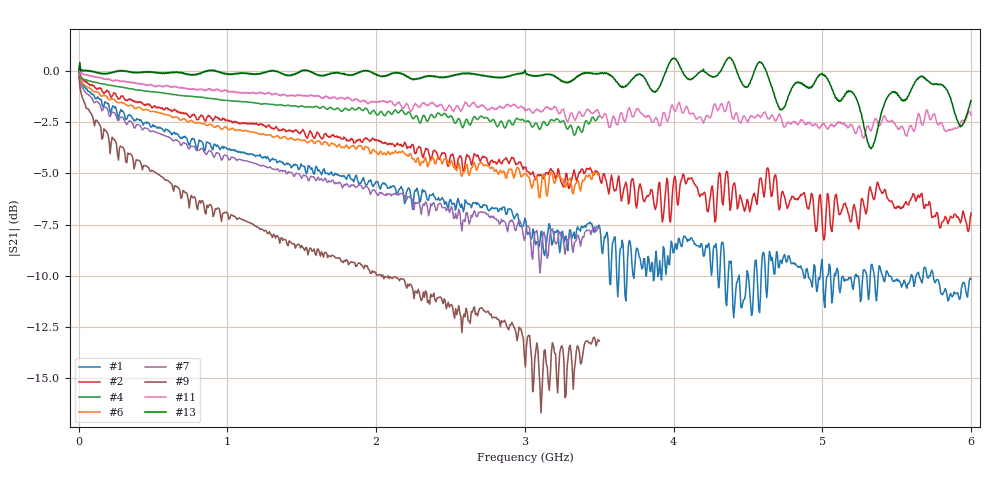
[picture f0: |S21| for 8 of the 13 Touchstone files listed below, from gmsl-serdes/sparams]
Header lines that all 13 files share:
# GHZ S RI R 50.000000000000
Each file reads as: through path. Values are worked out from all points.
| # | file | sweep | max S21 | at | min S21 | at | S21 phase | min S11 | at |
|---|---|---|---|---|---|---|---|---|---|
| 1 | cableA+D+B+E+C_6.45m.s2p | 1 MHz to 6 GHz | 0.05 dB | 1 MHz | -12.0 dB | 4.404 GHz | 47 deg at 3.001 GHz | -45.1 dB | 1.117 GHz |
| 2 | cableA+D+B_4.3m.s2p | 1 MHz to 6 GHz | 0.14 dB | 6.999 MHz | -8.3 dB | 5.01 GHz | -160 deg at 3.001 GHz | -43.5 dB | 468.9 MHz |
| 3 | cableA_2m.s2p | 1 MHz to 3.5 GHz | -0.05 dB | 1 MHz | -2.8 dB | 3.332 GHz | -154 deg at 1.75 GHz | -61.3 dB | 1.128 GHz |
| 4 | cableA_2m_85C.s2p | 1 MHz to 3.5 GHz | -0.01 dB | 1 MHz | -3.1 dB | 3.332 GHz | -150 deg at 1.75 GHz | -53.6 dB | 1.065 GHz |
| 5 | cableA_2m_-20C.s2p | 1 MHz to 3.5 GHz | -0.10 dB | 1 MHz | -2.9 dB | 3.332 GHz | -160 deg at 1.75 GHz | -53.8 dB | 175.9 MHz |
| 6 | cableA_4m_2interconnect.s2p | 1 MHz to 3.5 GHz | -0.16 dB | 1 MHz | -6.2 dB | 3.101 GHz | 65 deg at 1.75 GHz | -62.9 dB | 1.205 GHz |
| 7 | cableA_6m_4interconnect.s2p | 1 MHz to 3.5 GHz | -0.19 dB | 1 MHz | -9.9 dB | 3.101 GHz | -147 deg at 1.75 GHz | -51.1 dB | 1.044 GHz |
| 8 | cableA_8m_6interconnect.s2p | 1 MHz to 3.5 GHz | -0.30 dB | 1 MHz | -13.0 dB | 3.108 GHz | 103 deg at 1.75 GHz | -49.5 dB | 127 MHz |
| 9 | cableA_10m_8interconnect.s2p | 1 MHz to 3.5 GHz | -0.29 dB | 1 MHz | -16.7 dB | 3.108 GHz | -17 deg at 1.75 GHz | -51.5 dB | 1.422 GHz |
| 10 | cableB_2m.s2p | 1 MHz to 3.5 GHz | -0.06 dB | 1 MHz | -4.8 dB | 3.388 GHz | 24 deg at 1.75 GHz | -68.6 dB | 231.9 MHz |
| 11 | cableC_2m.s2p | 1 MHz to 6 GHz | 0.32 dB | 6.999 MHz | -3.3 dB | 5.28 GHz | -82 deg at 3.001 GHz | -62.5 dB | 1.033 GHz |
| 12 | cableD_0.15m.s2p | 1 MHz to 6 GHz | 0.75 dB | 4.374 GHz | -3.7 dB | 5.316 GHz | 164 deg at 3.001 GHz | -60.4 dB | 1 MHz |
| 13 | cableE_0.15m.s2p | 1 MHz to 6 GHz | 0.65 dB | 4.374 GHz | -3.8 dB | 5.328 GHz | 169 deg at 3.001 GHz | -60.7 dB | 1 MHz |
